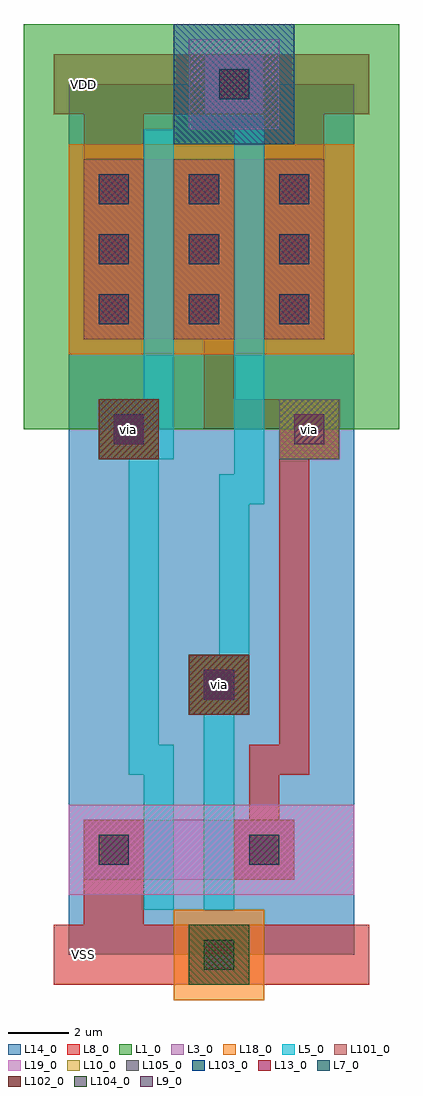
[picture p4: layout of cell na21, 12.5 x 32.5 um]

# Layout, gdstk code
import gdstk
lib = gdstk.Library(unit=1e-6, precision=1e-09)
def R(c, l, rs):  # rectangles x0, y0, x1, y1
    for r in rs: c.add(gdstk.rectangle(r[:2], r[2:], *l))
L1_0 = (1, 0)
L3_0 = (3, 0)
L5_0 = (5, 0)
L7_0 = (7, 0)
L8_0 = (8, 0)
L9_0 = (9, 0)
L10_0 = (10, 0)
L13_0 = (13, 0)
L14_0 = (14, 0)
L18_0 = (18, 0)
L19_0 = (19, 0)
L101_0 = (101, 0)
L102_0 = (102, 0)
L103_0 = (103, 0)
L104_0 = (104, 0)
L105_0 = (105, 0)

pcont = lib.new_cell('pcont')
R(pcont, L5_0, [(-1,-1,1,1)])
R(pcont, L7_0, [(-0.5,-0.5,0.5,0.5)])
R(pcont, L8_0, [(-1,-1,1,1)])
R(pcont, L102_0, [(-1,-1,1,1)])
pcont.add(gdstk.Label('pcont', (0,0), layer=13, texttype=0))

dcont = lib.new_cell('dcont')
R(dcont, L3_0, [(-1,-1,1,1)])
R(dcont, L7_0, [(-0.5,-0.5,0.5,0.5)])
R(dcont, L8_0, [(-1,-1,1,1)])
R(dcont, L13_0, [(-0.5,-0.5,0.5,0.5)])
R(dcont, L101_0, [(-1,-1,1,1)])
dcont.add(gdstk.Label('dcont', (0,0), layer=13, texttype=0))

nsubcont = lib.new_cell('nsubcont')
R(nsubcont, L1_0, [(-2,-2,2,2)])
R(nsubcont, L19_0, [(-1.5,-1.5,1.5,1.5)])
R(nsubcont, L103_0, [(-2,-2,2,2)])
nsubcont.add(gdstk.Reference(dcont, (0,0)))
nsubcont.add(gdstk.Label('NScont', (0,0), layer=13, texttype=0))

psubcont = lib.new_cell('psubcont')
R(psubcont, L18_0, [(-1.5,-1.5,1.5,1.5)])
R(psubcont, L104_0, [(-1,-1,1,1)])
psubcont.add(gdstk.Reference(dcont, (0,0)))
psubcont.add(gdstk.Label('PScon', (0,0), layer=13, texttype=0))

via = lib.new_cell('Via')
R(via, L8_0, [(-1,-1,1,1)])
R(via, L9_0, [(-0.5,-0.5,0.5,0.5)])
R(via, L10_0, [(-1,-1,1,1)])
R(via, L13_0, [(-0.5,-0.5,0.5,0.5)])
R(via, L105_0, [(-1,-1,1,1)])
via.add(gdstk.Label('via', (0,0), layer=13, texttype=0))

na21 = lib.new_cell('na21')
R(na21, L1_0, [(-1.5,17.5,11,31)])
R(na21, L3_0, [(0.5,2.5,7.5,4.5), (0.5,20.5,8.5,26.5)])
R(na21, L8_0, [(-0.5,-1,10,1), (4,8,6,10), (1,16.5,3,18.5), (7,16.5,9,18.5), (-0.5,28,10,30)])
R(na21, L10_0, [(4,8,6,10), (1,16.5,3,18.5), (7,16.5,9,18.5)])
R(na21, L14_0, [(0,0,9.5,29)])
R(na21, L18_0, [(0,20,9.5,27)])
R(na21, L19_0, [(0,2,9.5,5)])
R(na21, L105_0, [(4,8,6,10), (1,16.5,3,18.5), (7,16.5,9,18.5)])
na21.add(gdstk.FlexPath([(5,20.5),(5,18),(7.5,18),(7.5,6.5),(6.5,6.5),(6.5,3.5)], 1, ends="extended", simple_path=True, layer=8, datatype=0))  # L8_0
na21.add(gdstk.FlexPath([(4.5,22.3),(4.5,25.5)], 1.4, ends="extended", simple_path=True, layer=8, datatype=0))  # L8_0
na21.add(gdstk.FlexPath([(7.5,21.5),(7.5,28.5)], 2, ends="extended", simple_path=True, layer=8, datatype=0))  # L8_0
na21.add(gdstk.FlexPath([(1.5,1),(1.5,3.5)], 2, ends="extended", simple_path=True, layer=8, datatype=0))  # L8_0
na21.add(gdstk.FlexPath([(1.5,21.5),(1.5,28.5)], 2, ends="extended", simple_path=True, layer=8, datatype=0))  # L8_0
na21.add(gdstk.FlexPath([(3,27),(3,17),(2.5,17),(2.5,6.5),(3,6.5),(3,2)], 1, ends="extended", simple_path=True, layer=5, datatype=0))  # L5_0
na21.add(gdstk.FlexPath([(6,27),(6,15.5),(5.5,15.5),(5.5,9.5),(5,9.5),(5,2)], 1, ends="extended", simple_path=True, layer=5, datatype=0))  # L5_0
na21.add(gdstk.Reference(pcont, (2,17.5)))
na21.add(gdstk.Reference(nsubcont, (5.5,29)))
na21.add(gdstk.Reference(dcont, (6.5,3.5)))
na21.add(gdstk.Reference(psubcont, (5,0)))
na21.add(gdstk.Reference(via, (2,17.5)))
na21.add(gdstk.Reference(dcont, (1.5,25.5)))
na21.add(gdstk.Reference(dcont, (7.5,21.5)))
na21.add(gdstk.Reference(dcont, (1.5,21.5)))
na21.add(gdstk.Reference(dcont, (7.5,23.5)))
na21.add(gdstk.Reference(via, (8,17.5)))
na21.add(gdstk.Reference(dcont, (4.5,23.5)))
na21.add(gdstk.Reference(dcont, (1.5,3.5)))
na21.add(gdstk.Reference(via, (5,9)))
na21.add(gdstk.Reference(pcont, (5,9)))
na21.add(gdstk.Reference(dcont, (7.5,25.5)))
na21.add(gdstk.Reference(dcont, (4.5,21.5)))
na21.add(gdstk.Reference(dcont, (1.5,23.5)))
na21.add(gdstk.Reference(dcont, (4.5,25.5)))
na21.add(gdstk.Label('VDD', (0.5,29), layer=8, texttype=0))
na21.add(gdstk.Label('VSS', (0.5,0), layer=8, texttype=0))
na21.add(gdstk.Label('via', (8,17.5), layer=13, texttype=0))
na21.add(gdstk.Label('via', (2,17.5), layer=13, texttype=0))
na21.add(gdstk.Label('via', (5,9), layer=13, texttype=0))
na21.add(gdstk.Label('A', (2,17.5), layer=10, texttype=0))
na21.add(gdstk.Label('B', (5,9), layer=10, texttype=0))
na21.add(gdstk.Label('X', (8,17.5), layer=10, texttype=0))

lib.write_gds('na21.gds')
